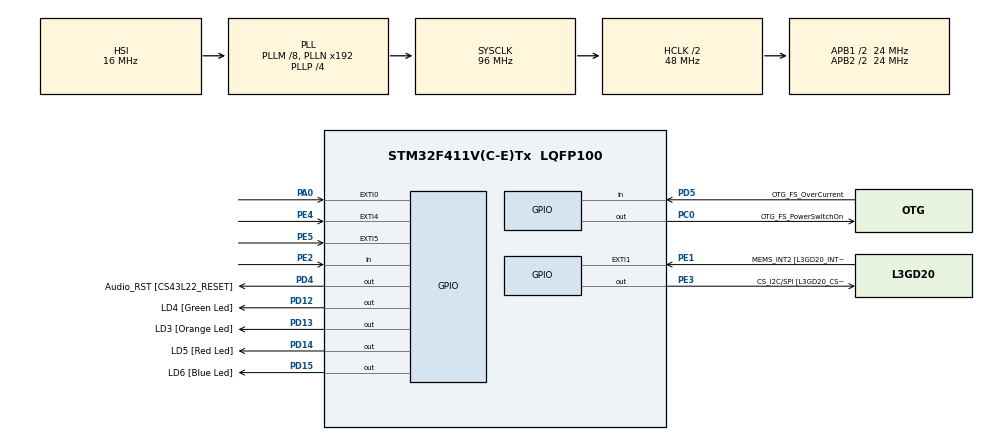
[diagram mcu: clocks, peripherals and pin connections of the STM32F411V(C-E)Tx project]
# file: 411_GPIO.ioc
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Mcu.Family=STM32F4
Mcu.Name=STM32F411V(C-E)Tx
Mcu.Package=LQFP100
NVIC.PriorityGroup=NVIC_PRIORITYGROUP_0
PA0-WKUP.GPIO_ModeDefaultEXTI=GPIO_MODE_EVT_RISING
PA0-WKUP.Signal=GPXTI0
PA10.GPIO_Label=OTG_FS_ID
PA10.Signal=USB_OTG_FS_ID
PA11.GPIO_Label=OTG_FS_DM
PA11.Signal=USB_OTG_FS_DM
PA12.GPIO_Label=OTG_FS_DP
PA12.Signal=USB_OTG_FS_DP
PA13.GPIO_Label=SWDIO
PA13.Mode=Serial_Wire
PA13.Signal=SYS_JTMS-SWDIO
PA14.GPIO_Label=SWCLK
PA14.Mode=Serial_Wire
PA14.Signal=SYS_JTCK-SWCLK
PA4.GPIO_Label=I2S3_WS [CS43L22_LRCK]
PA4.GPIO_Mode=GPIO_MODE_AF_PP
PA4.GPIO_PuPd=GPIO_NOPULL
PA4.GPIO_Speed=GPIO_SPEED_FREQ_LOW
PA4.Signal=I2S3_WS
PA5.GPIO_Label=SPI1_SCK [L3GD20_SC/SPC]
PA5.Signal=SPI1_SCK
PA6.GPIO_Label=SPI1_MISO [L3GD20_AS0/SDO]
PA6.Signal=SPI1_MISO
PA7.GPIO_Label=SPI1_MOSI [L3GD20_SDA/SDI/SDO]
PA7.Signal=SPI1_MOSI
PA9.GPIO_Label=VBUS_FS
PA9.Signal=USB_OTG_FS_VBUS
PB10.GPIO_Label=CLK_IN [MP45DT02_CLK]
PB10.Signal=I2S2_CK
PB12.Signal=I2S2_WS
PB3.GPIO_Label=SWO
PB3.Signal=SYS_JTDO-SWO
PB6.GPIO_Label=Audio_SCL [CS43L22_SCL]
PB6.GPIO_Mode=GPIO_MODE_AF_OD
PB6.GPIO_PuPd=GPIO_NOPULL
PB6.GPIO_Speed=GPIO_SPEED_FREQ_LOW
PB6.Signal=I2C1_SCL
PB9.GPIO_Label=Audio_SDA [CS43L22_SDA]
PB9.GPIO_Mode=GPIO_MODE_AF_OD
PB9.GPIO_PuPd=GPIO_NOPULL
PB9.GPIO_Speed=GPIO_SPEED_FREQ_LOW
PB9.Signal=I2C1_SDA
PC0.GPIO_Label=OTG_FS_PowerSwitchOn
PC0.PinState=GPIO_PIN_SET
PC0.Signal=GPIO_Output
PC10.GPIO_Label=I2S3_SCK [CS43L22_SCLK]
PC10.GPIO_Mode=GPIO_MODE_AF_PP
PC10.GPIO_PuPd=GPIO_NOPULL
PC10.GPIO_Speed=GPIO_SPEED_FREQ_LOW
PC10.Signal=I2S3_CK
PC12.GPIO_Label=I2S3_SD [CS43L22_SDIN]
PC12.GPIO_Mode=GPIO_MODE_AF_PP
PC12.GPIO_PuPd=GPIO_NOPULL
PC12.GPIO_Speed=GPIO_SPEED_FREQ_LOW
PC12.Signal=I2S3_SD
PC14-OSC32_IN.GPIO_Label=PC14-OSC32_IN
PC14-OSC32_IN.Signal=RCC_OSC32_IN
PC15-OSC32_OUT.GPIO_Label=PC15-OSC32_OUT
PC15-OSC32_OUT.Signal=RCC_OSC32_OUT
PC3.GPIO_Label=PDM_OUT [MP45DT02_DOUT]
PC3.Signal=I2S2_SD
PC7.GPIO_Label=I2S3_MCK [CS43L22_MCLK]
PC7.GPIO_Mode=GPIO_MODE_AF_PP
PC7.GPIO_PuPd=GPIO_NOPULL
PC7.GPIO_Speed=GPIO_SPEED_FREQ_LOW
PC7.Signal=I2S3_MCK
PD12.GPIO_Label=LD4 [Green Led]
PD12.GPIO_PuPd=GPIO_NOPULL
PD12.GPIO_Speed=GPIO_SPEED_FREQ_LOW
PD12.Signal=GPIO_Output
PD13.GPIO_Label=LD3 [Orange Led]
PD13.GPIO_PuPd=GPIO_NOPULL
PD13.GPIO_Speed=GPIO_SPEED_FREQ_LOW
PD13.Signal=GPIO_Output
PD14.GPIO_Label=LD5 [Red Led]
PD14.GPIO_PuPd=GPIO_NOPULL
PD14.GPIO_Speed=GPIO_SPEED_FREQ_LOW
PD14.Signal=GPIO_Output
PD15.GPIO_Label=LD6 [Blue Led]
PD15.GPIO_PuPd=GPIO_NOPULL
PD15.GPIO_Speed=GPIO_SPEED_FREQ_LOW
PD15.Signal=GPIO_Output
PD4.GPIO_Label=Audio_RST [CS43L22_RESET]
PD4.Signal=GPIO_Output
PD5.GPIO_Label=OTG_FS_OverCurrent
PD5.Signal=GPIO_Input
PE1.GPIO_Label=MEMS_INT2 [L3GD20_INT2]
PE1.GPIO_ModeDefaultEXTI=GPIO_MODE_EVT_RISING
PE1.Signal=GPXTI1
PE2.Signal=GPIO_Input
PE3.GPIO_Label=CS_I2C/SPI [L3GD20_CS_I2C/SPI]
PE3.Signal=GPIO_Output
PE4.GPIO_ModeDefaultEXTI=GPIO_MODE_EVT_RISING
PE4.Signal=GPXTI4
PE5.GPIO_ModeDefaultEXTI=GPIO_MODE_EVT_RISING
PE5.Signal=GPXTI5
PH0\ -\ OSC_IN.GPIO_Label=PH0-OSC_IN
PH0\ -\ OSC_IN.Signal=RCC_OSC_IN
PH1\ -\ OSC_OUT.GPIO_Label=PH1-OSC_OUT
PH1\ -\ OSC_OUT.Signal=RCC_OSC_OUT
ProjectManager.HeapSize=0x200
ProjectManager.StackSize=0x400
ProjectManager.TargetToolchain=STM32CubeIDE
RCC.48MHZClocksFreq_Value=48000000
RCC.AHBCLKDivider=RCC_SYSCLK_DIV2
RCC.AHBFreq_Value=48000000
RCC.APB1CLKDivider=RCC_HCLK_DIV2
RCC.APB1Freq_Value=24000000
RCC.APB1TimFreq_Value=48000000
RCC.APB2CLKDivider=RCC_HCLK_DIV2
RCC.APB2Freq_Value=24000000
RCC.APB2TimFreq_Value=48000000
RCC.CortexFreq_Value=48000000
RCC.HCLKFreq_Value=48000000
RCC.HSE_VALUE=8000000
RCC.HSI_VALUE=16000000
RCC.LSE_VALUE=32768
RCC.PLLI2SM=5
RCC.PLLI2SN=200
RCC.PLLM=8
RCC.PLLP=RCC_PLLP_DIV4
RCC.PLLQ=8
RCC.SYSCLKFreq_VALUE=96000000
RCC.SYSCLKSource=RCC_SYSCLKSOURCE_PLLCLK
RCC.VCOOutputFreq_Value=384000000
board=STM32F411E-DISCO

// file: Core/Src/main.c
/* USER CODE BEGIN Header */
/**
  ******************************************************************************
  * @file           : main.c
  * @brief          : Main program body
  ******************************************************************************
  * @attention
  *
  * Copyright (c) 2023 STMicroelectronics.
  * All rights reserved.
  *
  * This software is licensed under terms that can be found in the LICENSE file
  * in the root directory of this software component.
  * If no LICENSE file comes with this software, it is provided AS-IS.
  *
  ******************************************************************************
  */
/* USER CODE END Header */
#include "main.h"

/* USER CODE BEGIN Includes */
#include "led_411.h"
#include "stdio.h"
#include "stdint.h"
/* USER CODE END Includes */

void SystemClock_Config(void);
static void MX_GPIO_Init(void);

/* USER CODE BEGIN 0 */
int led=0;
int button=10;

uint8_t count=0;
/* USER CODE END 0 */

int main(void)
{

  /* MCU Configuration--------------------------------------------------------*/

  /* Reset of all peripherals, Initializes the Flash interface and the Systick. */
  HAL_Init();

  /* Configure the system clock */
  SystemClock_Config();

  /* Initialize all configured peripherals */
  MX_GPIO_Init();
  /* USER CODE BEGIN 2 */
led_init();
  /* USER CODE END 2 */

  /* Infinite loop */
  /* USER CODE BEGIN WHILE */
  while (1)
  {
	  /*
	  GPIOD->ODR ^=(1<<12);
	  led++;
	  button--;
	  if(led==10){
		  led=1;
	  }
	  if(button==0){
		  button=10;
	  }
	  */
	  GPIOD->ODR ^=(1<<12);
	  //led=HAL_GPIO_ReadPin(GPIOD, GPIO_PIN_12);
	  //HAL_GPIO_ReadPin(GPIOD, GPIO_PIN_12);
	  count++;
	  printf("HELLO WORLD count= %d \n",count);
	  HAL_Delay(500);

    /* USER CODE END WHILE */

  }
}

void SystemClock_Config(void)
{
  RCC_OscInitTypeDef RCC_OscInitStruct = {0};
  RCC_ClkInitTypeDef RCC_ClkInitStruct = {0};

  /** Configure the main internal regulator output voltage
  */
  __HAL_RCC_PWR_CLK_ENABLE();
  __HAL_PWR_VOLTAGESCALING_CONFIG(PWR_REGULATOR_VOLTAGE_SCALE1);

  /** Initializes the RCC Oscillators according to the specified parameters
  * in the RCC_OscInitTypeDef structure.
  */
  RCC_OscInitStruct.OscillatorType = RCC_OSCILLATORTYPE_HSI;
  RCC_OscInitStruct.HSIState = RCC_HSI_ON;
  RCC_OscInitStruct.HSICalibrationValue = RCC_HSICALIBRATION_DEFAULT;
  RCC_OscInitStruct.PLL.PLLState = RCC_PLL_ON;
  RCC_OscInitStruct.PLL.PLLSource = RCC_PLLSOURCE_HSI;
  RCC_OscInitStruct.PLL.PLLM = 8;
  RCC_OscInitStruct.PLL.PLLN = 192;
  RCC_OscInitStruct.PLL.PLLP = RCC_PLLP_DIV4;
  RCC_OscInitStruct.PLL.PLLQ = 8;
  if (HAL_RCC_OscConfig(&RCC_OscInitStruct) != HAL_OK)
  {
    Error_Handler();
  }

  /** Initializes the CPU, AHB and APB buses clocks
  */
  RCC_ClkInitStruct.ClockType = RCC_CLOCKTYPE_HCLK|RCC_CLOCKTYPE_SYSCLK
                              |RCC_CLOCKTYPE_PCLK1|RCC_CLOCKTYPE_PCLK2;
  RCC_ClkInitStruct.SYSCLKSource = RCC_SYSCLKSOURCE_PLLCLK;
  RCC_ClkInitStruct.AHBCLKDivider = RCC_SYSCLK_DIV2;
  RCC_ClkInitStruct.APB1CLKDivider = RCC_HCLK_DIV2;
  RCC_ClkInitStruct.APB2CLKDivider = RCC_HCLK_DIV2;

  if (HAL_RCC_ClockConfig(&RCC_ClkInitStruct, FLASH_LATENCY_1) != HAL_OK)
  {
    Error_Handler();
  }
}

static void MX_GPIO_Init(void)
{
  GPIO_InitTypeDef GPIO_InitStruct = {0};

  /* GPIO Ports Clock Enable */
  __HAL_RCC_GPIOE_CLK_ENABLE();
  __HAL_RCC_GPIOC_CLK_ENABLE();
  __HAL_RCC_GPIOH_CLK_ENABLE();
  __HAL_RCC_GPIOA_CLK_ENABLE();
  __HAL_RCC_GPIOB_CLK_ENABLE();
  __HAL_RCC_GPIOD_CLK_ENABLE();

  /*Configure GPIO pin Output Level */
  HAL_GPIO_WritePin(CS_I2C_SPI_GPIO_Port, CS_I2C_SPI_Pin, GPIO_PIN_RESET);

  /*Configure GPIO pin Output Level */
  HAL_GPIO_WritePin(OTG_FS_PowerSwitchOn_GPIO_Port, OTG_FS_PowerSwitchOn_Pin, GPIO_PIN_SET);

  /*Configure GPIO pin Output Level */
  HAL_GPIO_WritePin(GPIOD, LD4_Pin|LD3_Pin|LD5_Pin|LD6_Pin
                          |Audio_RST_Pin, GPIO_PIN_RESET);

  /*Configure GPIO pin : PE2 */
  GPIO_InitStruct.Pin = GPIO_PIN_2;
  GPIO_InitStruct.Mode = GPIO_MODE_INPUT;
  GPIO_InitStruct.Pull = GPIO_NOPULL;
  HAL_GPIO_Init(GPIOE, &GPIO_InitStruct);

  /*Configure GPIO pin : CS_I2C_SPI_Pin */
  GPIO_InitStruct.Pin = CS_I2C_SPI_Pin;
  GPIO_InitStruct.Mode = GPIO_MODE_OUTPUT_PP;
  GPIO_InitStruct.Pull = GPIO_NOPULL;
  GPIO_InitStruct.Speed = GPIO_SPEED_FREQ_LOW;
  HAL_GPIO_Init(CS_I2C_SPI_GPIO_Port, &GPIO_InitStruct);

  /*Configure GPIO pins : PE4 PE5 MEMS_INT2_Pin */
  GPIO_InitStruct.Pin = GPIO_PIN_4|GPIO_PIN_5|MEMS_INT2_Pin;
  GPIO_InitStruct.Mode = GPIO_MODE_EVT_RISING;
  GPIO_InitStruct.Pull = GPIO_NOPULL;
  HAL_GPIO_Init(GPIOE, &GPIO_InitStruct);

  /*Configure GPIO pin : OTG_FS_PowerSwitchOn_Pin */
  GPIO_InitStruct.Pin = OTG_FS_PowerSwitchOn_Pin;
  GPIO_InitStruct.Mode = GPIO_MODE_OUTPUT_PP;
  GPIO_InitStruct.Pull = GPIO_NOPULL;
  GPIO_InitStruct.Speed = GPIO_SPEED_FREQ_LOW;
  HAL_GPIO_Init(OTG_FS_PowerSwitchOn_GPIO_Port, &GPIO_InitStruct);

  /*Configure GPIO pin : PDM_OUT_Pin */
  GPIO_InitStruct.Pin = PDM_OUT_Pin;
  GPIO_InitStruct.Mode = GPIO_MODE_AF_PP;
  GPIO_InitStruct.Pull = GPIO_NOPULL;
  GPIO_InitStruct.Speed = GPIO_SPEED_FREQ_LOW;
  GPIO_InitStruct.Alternate = GPIO_AF5_SPI2;
  HAL_GPIO_Init(PDM_OUT_GPIO_Port, &GPIO_InitStruct);

  /*Configure GPIO pin : PA0 */
  GPIO_InitStruct.Pin = GPIO_PIN_0;
  GPIO_InitStruct.Mode = GPIO_MODE_EVT_RISING;
  GPIO_InitStruct.Pull = GPIO_NOPULL;
  HAL_GPIO_Init(GPIOA, &GPIO_InitStruct);

  /*Configure GPIO pin : I2S3_WS_Pin */
  GPIO_InitStruct.Pin = I2S3_WS_Pin;
  GPIO_InitStruct.Mode = GPIO_MODE_AF_PP;
  GPIO_InitStruct.Pull = GPIO_NOPULL;
  GPIO_InitStruct.Speed = GPIO_SPEED_FREQ_LOW;
  GPIO_InitStruct.Alternate = GPIO_AF6_SPI3;
  HAL_GPIO_Init(I2S3_WS_GPIO_Port, &GPIO_InitStruct);

  /*Configure GPIO pins : SPI1_SCK_Pin SPI1_MISO_Pin SPI1_MOSI_Pin */
  GPIO_InitStruct.Pin = SPI1_SCK_Pin|SPI1_MISO_Pin|SPI1_MOSI_Pin;
  GPIO_InitStruct.Mode = GPIO_MODE_AF_PP;
  GPIO_InitStruct.Pull = GPIO_NOPULL;
  GPIO_InitStruct.Speed = GPIO_SPEED_FREQ_VERY_HIGH;
  GPIO_InitStruct.Alternate = GPIO_AF5_SPI1;
  HAL_GPIO_Init(GPIOA, &GPIO_InitStruct);

  /*Configure GPIO pins : CLK_IN_Pin PB12 */
  GPIO_InitStruct.Pin = CLK_IN_Pin|GPIO_PIN_12;
  GPIO_InitStruct.Mode = GPIO_MODE_AF_PP;
  GPIO_InitStruct.Pull = GPIO_NOPULL;
  GPIO_InitStruct.Speed = GPIO_SPEED_FREQ_LOW;
  GPIO_InitStruct.Alternate = GPIO_AF5_SPI2;
  HAL_GPIO_Init(GPIOB, &GPIO_InitStruct);

  /*Configure GPIO pins : LD4_Pin LD3_Pin LD5_Pin LD6_Pin
                           Audio_RST_Pin */
  GPIO_InitStruct.Pin = LD4_Pin|LD3_Pin|LD5_Pin|LD6_Pin
                          |Audio_RST_Pin;
  GPIO_InitStruct.Mode = GPIO_MODE_OUTPUT_PP;
  GPIO_InitStruct.Pull = GPIO_NOPULL;
  GPIO_InitStruct.Speed = GPIO_SPEED_FREQ_LOW;
  HAL_GPIO_Init(GPIOD, &GPIO_InitStruct);

  /*Configure GPIO pins : I2S3_MCK_Pin I2S3_SCK_Pin I2S3_SD_Pin */
  GPIO_InitStruct.Pin = I2S3_MCK_Pin|I2S3_SCK_Pin|I2S3_SD_Pin;
  GPIO_InitStruct.Mode = GPIO_MODE_AF_PP;
  GPIO_InitStruct.Pull = GPIO_NOPULL;
  GPIO_InitStruct.Speed = GPIO_SPEED_FREQ_LOW;
  GPIO_InitStruct.Alternate = GPIO_AF6_SPI3;
  HAL_GPIO_Init(GPIOC, &GPIO_InitStruct);

  /*Configure GPIO pin : VBUS_FS_Pin */
  GPIO_InitStruct.Pin = VBUS_FS_Pin;
  GPIO_InitStruct.Mode = GPIO_MODE_INPUT;
  GPIO_InitStruct.Pull = GPIO_NOPULL;
  HAL_GPIO_Init(VBUS_FS_GPIO_Port, &GPIO_InitStruct);

  /*Configure GPIO pins : OTG_FS_ID_Pin OTG_FS_DM_Pin OTG_FS_DP_Pin */
  GPIO_InitStruct.Pin = OTG_FS_ID_Pin|OTG_FS_DM_Pin|OTG_FS_DP_Pin;
  GPIO_InitStruct.Mode = GPIO_MODE_AF_PP;
  GPIO_InitStruct.Pull = GPIO_NOPULL;
  GPIO_InitStruct.Speed = GPIO_SPEED_FREQ_VERY_HIGH;
  GPIO_InitStruct.Alternate = GPIO_AF10_OTG_FS;
  HAL_GPIO_Init(GPIOA, &GPIO_InitStruct);

  /*Configure GPIO pin : OTG_FS_OverCurrent_Pin */
  GPIO_InitStruct.Pin = OTG_FS_OverCurrent_Pin;
  GPIO_InitStruct.Mode = GPIO_MODE_INPUT;
  GPIO_InitStruct.Pull = GPIO_NOPULL;
  HAL_GPIO_Init(OTG_FS_OverCurrent_GPIO_Port, &GPIO_InitStruct);

  /*Configure GPIO pins : Audio_SCL_Pin Audio_SDA_Pin */
  GPIO_InitStruct.Pin = Audio_SCL_Pin|Audio_SDA_Pin;
  GPIO_InitStruct.Mode = GPIO_MODE_AF_OD;
  GPIO_InitStruct.Pull = GPIO_NOPULL;
  GPIO_InitStruct.Speed = GPIO_SPEED_FREQ_LOW;
  GPIO_InitStruct.Alternate = GPIO_AF4_I2C1;
  HAL_GPIO_Init(GPIOB, &GPIO_InitStruct);

}

/* USER CODE BEGIN 4 */
int _write(int file, char *ptr, int len)
{
 (void)file;
 int DataIdx;

 for (DataIdx = 0; DataIdx < len; DataIdx++)
 {
	 ITM_SendChar(*ptr++);
 }
 return len;
}
/* USER CODE END 4 */

void Error_Handler(void)
{
  __disable_irq();
  while (1)
  {
  }
}
